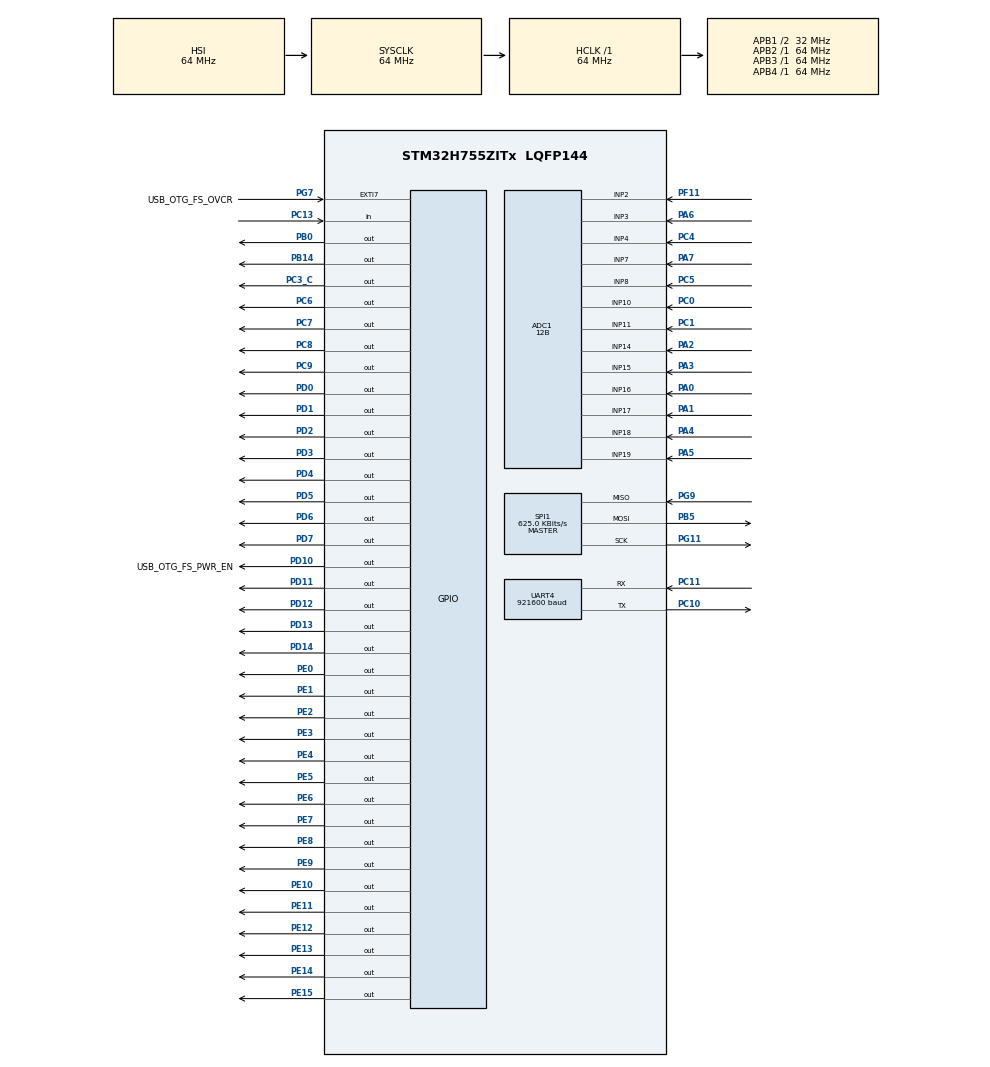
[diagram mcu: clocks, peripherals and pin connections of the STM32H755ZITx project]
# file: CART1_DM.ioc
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ADC1.Channel-0\#ChannelRegularConversion=ADC_CHANNEL_2
ADC1.Channel-1\#ChannelRegularConversion=ADC_CHANNEL_3
ADC1.Channel-10\#ChannelRegularConversion=ADC_CHANNEL_17
ADC1.Channel-11\#ChannelRegularConversion=ADC_CHANNEL_18
ADC1.Channel-12\#ChannelRegularConversion=ADC_CHANNEL_19
ADC1.Channel-2\#ChannelRegularConversion=ADC_CHANNEL_4
ADC1.Channel-3\#ChannelRegularConversion=ADC_CHANNEL_7
ADC1.Channel-4\#ChannelRegularConversion=ADC_CHANNEL_8
ADC1.Channel-5\#ChannelRegularConversion=ADC_CHANNEL_10
ADC1.Channel-6\#ChannelRegularConversion=ADC_CHANNEL_11
ADC1.Channel-7\#ChannelRegularConversion=ADC_CHANNEL_14
ADC1.Channel-8\#ChannelRegularConversion=ADC_CHANNEL_15
ADC1.Channel-9\#ChannelRegularConversion=ADC_CHANNEL_16
ADC1.ClockPrescaler=ADC_CLOCK_ASYNC_DIV64
ADC1.ClockPrescalerADC3=ADC_CLOCK_ASYNC_DIV4
ADC1.ContinuousConvMode=ENABLE
ADC1.ConversionDataManagement=ADC_CONVERSIONDATA_DMA_CIRCULAR
ADC1.EOCSelection=ADC_EOC_SEQ_CONV
ADC1.NbrOfConversion=13
ADC1.NbrOfConversionFlag=1
ADC1.OffsetNumber-1\#ChannelRegularConversion=ADC_OFFSET_NONE
ADC1.OffsetNumber-10\#ChannelRegularConversion=ADC_OFFSET_NONE
ADC1.OffsetNumber-11\#ChannelRegularConversion=ADC_OFFSET_NONE
ADC1.OffsetNumber-12\#ChannelRegularConversion=ADC_OFFSET_NONE
ADC1.OffsetNumber-2\#ChannelRegularConversion=ADC_OFFSET_NONE
ADC1.OffsetNumber-3\#ChannelRegularConversion=ADC_OFFSET_NONE
ADC1.OffsetNumber-4\#ChannelRegularConversion=ADC_OFFSET_NONE
ADC1.OffsetNumber-5\#ChannelRegularConversion=ADC_OFFSET_NONE
ADC1.OffsetNumber-6\#ChannelRegularConversion=ADC_OFFSET_NONE
ADC1.OffsetNumber-7\#ChannelRegularConversion=ADC_OFFSET_NONE
ADC1.OffsetNumber-8\#ChannelRegularConversion=ADC_OFFSET_NONE
ADC1.OffsetNumber-9\#ChannelRegularConversion=ADC_OFFSET_NONE
ADC1.OffsetSignedSaturation-0\#ChannelRegularConversion=DISABLE
ADC1.Rank-1\#ChannelRegularConversion=2
ADC1.Rank-10\#ChannelRegularConversion=11
ADC1.Rank-11\#ChannelRegularConversion=12
ADC1.Rank-12\#ChannelRegularConversion=13
ADC1.Rank-2\#ChannelRegularConversion=3
ADC1.Rank-3\#ChannelRegularConversion=4
ADC1.Rank-4\#ChannelRegularConversion=5
ADC1.Rank-5\#ChannelRegularConversion=6
ADC1.Rank-6\#ChannelRegularConversion=7
ADC1.Rank-7\#ChannelRegularConversion=8
ADC1.Rank-8\#ChannelRegularConversion=9
ADC1.Rank-9\#ChannelRegularConversion=10
ADC1.Resolution=ADC_RESOLUTION_12B
ADC1.SamplingTime-0\#ChannelRegularConversion=ADC_SAMPLETIME_16CYCLES_5
ADC1.SamplingTime-1\#ChannelRegularConversion=ADC_SAMPLETIME_16CYCLES_5
ADC1.SamplingTime-10\#ChannelRegularConversion=ADC_SAMPLETIME_16CYCLES_5
ADC1.SamplingTime-11\#ChannelRegularConversion=ADC_SAMPLETIME_16CYCLES_5
ADC1.SamplingTime-12\#ChannelRegularConversion=ADC_SAMPLETIME_16CYCLES_5
ADC1.SamplingTime-2\#ChannelRegularConversion=ADC_SAMPLETIME_16CYCLES_5
ADC1.SamplingTime-3\#ChannelRegularConversion=ADC_SAMPLETIME_16CYCLES_5
ADC1.SamplingTime-4\#ChannelRegularConversion=ADC_SAMPLETIME_16CYCLES_5
ADC1.SamplingTime-5\#ChannelRegularConversion=ADC_SAMPLETIME_16CYCLES_5
ADC1.SamplingTime-6\#ChannelRegularConversion=ADC_SAMPLETIME_16CYCLES_5
ADC1.SamplingTime-7\#ChannelRegularConversion=ADC_SAMPLETIME_16CYCLES_5
ADC1.SamplingTime-8\#ChannelRegularConversion=ADC_SAMPLETIME_16CYCLES_5
ADC1.SamplingTime-9\#ChannelRegularConversion=ADC_SAMPLETIME_16CYCLES_5
ADC1.master=1
CortexM4.IPs=FATFS_M4\:I,FREERTOS_M4\:I,IWDG2\:I,RCC,WWDG2\:I,DMA,BDMA,MDMA,NVIC2\:I,USART3,DEBUG,PDM2PCM_M4\:I,PWR,RESMGR_UTILITY,SYS_M4\:I,USB_DEVICE_M4\:I,USB_HOST_M4\:I,CORTEX_M4\:I,GPIO,OPENAMP_M4\:I,VREFBUF
CortexM7.IPs=FATFS_M7\:I,FREERTOS_M7\:I,IWDG1\:I,RCC\:I,WWDG1\:I,DMA\:I,BDMA\:I,MDMA\:I,NVIC1\:I,USART3\:I,USB_OTG_FS\:I,SYS\:I,CORTEX_M7\:I,DEBUG\:I,PDM2PCM_M7\:I,PWR\:I,RESMGR_UTILITY\:I,USB_DEVICE_M7\:I,USB_HOST_M7\:I,GPIO\:I,OPENAMP_M7\:I,VREFBUF\:I,NUCLEO-H755ZI-Q\:I,MEMORYMAP\:I,SPI1\:I,TIM2\:I,ADC1\:I,UART4\:I
CortexM7.Pins=PE2,PE3,PE4,PE5,PE6,PC3_C,PE7,PE8,PE9,PE10,PE11,PE12,PE13,PE14,PE15,PD10,PD11,PD12,PD13,PD14,PC6,PC7,PC8,PC9,PD0,PD1,PD2,PD3,PD4,PD5,PD6,PD7,PE0
Dma.ADC1.0.Direction=DMA_PERIPH_TO_MEMORY
Dma.ADC1.0.EventEnable=DISABLE
Dma.ADC1.0.FIFOMode=DMA_FIFOMODE_DISABLE
Dma.ADC1.0.Instance=DMA1_Stream0
Dma.ADC1.0.MemDataAlignment=DMA_MDATAALIGN_HALFWORD
Dma.ADC1.0.MemInc=DMA_MINC_ENABLE
Dma.ADC1.0.Mode=DMA_CIRCULAR
Dma.ADC1.0.PeriphDataAlignment=DMA_PDATAALIGN_HALFWORD
Dma.ADC1.0.PeriphInc=DMA_PINC_DISABLE
Dma.ADC1.0.Polarity=HAL_DMAMUX_REQ_GEN_RISING
Dma.ADC1.0.Priority=DMA_PRIORITY_HIGH
Dma.ADC1.0.RequestNumber=1
Dma.ADC1.0.SignalID=NONE
Dma.ADC1.0.SyncEnable=DISABLE
Dma.ADC1.0.SyncPolarity=HAL_DMAMUX_SYNC_NO_EVENT
Dma.ADC1.0.SyncRequestNumber=1
Dma.ADC1.0.SyncSignalID=NONE
Dma.Request0=ADC1
Mcu.Family=STM32H7
Mcu.Name=STM32H755ZITx
Mcu.Package=LQFP144
NUCLEO-H755ZI-Q.BUTTON=1
NUCLEO-H755ZI-Q.Bsp_Common_DEMO=true
NUCLEO-H755ZI-Q.LD1=true
NUCLEO-H755ZI-Q.LD2=true
NUCLEO-H755ZI-Q.LD3=true
NUCLEO-H755ZI-Q.VCP=true
NVIC1.ADC_IRQn=true\:0\:0\:false\:false\:true\:true\:true\:true
NVIC1.DMA1_Stream0_IRQn=true\:0\:0\:false\:false\:true\:false\:true\:true
NVIC1.EXTI15_10_IRQn=true\:0\:0\:false\:false\:true\:false\:true\:true
NVIC1.PriorityGroup=NVIC_PRIORITYGROUP_4
NVIC1.SPI1_IRQn=true\:0\:0\:false\:false\:true\:true\:true\:true
NVIC1.TIM2_IRQn=true\:0\:0\:false\:false\:true\:true\:true\:true
NVIC1.UART4_IRQn=true\:0\:0\:false\:false\:true\:true\:true\:true
NVIC2.PriorityGroup=NVIC_PRIORITYGROUP_4
PA0.Mode=IN16-Single-Ended
PA0.PinAttribute=CortexM7
PA0.Signal=ADC1_INP16
PA1.Mode=IN17-Single-Ended
PA1.PinAttribute=CortexM7
PA1.Signal=ADC1_INP17
PA11.PinAttribute=CortexM7
PA11.Signal=USB_OTG_FS_DM
PA12.PinAttribute=CortexM7
PA12.Signal=USB_OTG_FS_DP
PA2.PinAttribute=CortexM7
PA2.Signal=ADCx_INP14
PA3.PinAttribute=CortexM7
PA3.Signal=ADCx_INP15
PA4.PinAttribute=CortexM7
PA4.Signal=ADCx_INP18
PA5.PinAttribute=CortexM7
PA5.Signal=ADCx_INP19
PA6.PinAttribute=CortexM7
PA6.Signal=ADCx_INP3
PA7.GPIO_Mode=GPIO_MODE_ANALOG
PA7.GPIO_PuPd=GPIO_NOPULL
PA7.PinAttribute=CortexM7
PA7.Signal=ADCx_INP7
PA8.PinAttribute=CortexM7
PA8.Signal=USB_OTG_FS_SOF
PA9.PinAttribute=CortexM7
PA9.Signal=USB_OTG_FS_VBUS
PB0.Signal=GPIO_Output
PB13.PinAttribute=CortexM4
PB13.Signal=ETH_TXD1
PB14.Signal=GPIO_Output
PB5.Mode=Full_Duplex_Master
PB5.PinAttribute=CortexM7
PB5.Signal=SPI1_MOSI
PC0.PinAttribute=CortexM7
PC0.Signal=ADCx_INP10
PC1.PinAttribute=CortexM7
PC1.Signal=ADCx_INP11
PC10.Mode=Asynchronous
PC10.PinAttribute=CortexM7
PC10.Signal=UART4_TX
PC11.Mode=Asynchronous
PC11.PinAttribute=CortexM7
PC11.Signal=UART4_RX
PC13.Signal=GPIO_Input
PC14-OSC32_IN\ (OSC32_IN).PinAttribute=Free
PC14-OSC32_IN\ (OSC32_IN).Signal=RCC_OSC32_IN
PC15-OSC32_OUT\ (OSC32_OUT).PinAttribute=Free
PC15-OSC32_OUT\ (OSC32_OUT).Signal=RCC_OSC32_OUT
PC2_C.PinAttribute=CortexM7
PC2_C.Signal=ADC3_INP0
PC3_C.GPIO_PuPd=GPIO_PULLDOWN
PC3_C.PinAttribute=CortexM7
PC3_C.Signal=GPIO_Output
PC4.PinAttribute=CortexM7
PC4.Signal=ADCx_INP4
PC5.GPIO_Mode=GPIO_MODE_ANALOG
PC5.GPIO_PuPd=GPIO_NOPULL
PC5.PinAttribute=CortexM7
PC5.Signal=ADCx_INP8
PC6.PinAttribute=CortexM7
PC6.Signal=GPIO_Output
PC7.PinAttribute=CortexM7
PC7.Signal=GPIO_Output
PC8.PinAttribute=CortexM7
PC8.Signal=GPIO_Output
PC9.PinAttribute=CortexM7
PC9.Signal=GPIO_Output
PD0.PinAttribute=CortexM7
PD0.Signal=GPIO_Output
PD1.PinAttribute=CortexM7
PD1.Signal=GPIO_Output
PD10.GPIO_Label=USB_OTG_FS_PWR_EN
PD10.PinAttribute=CortexM7
PD10.Signal=GPIO_Output
PD11.PinAttribute=CortexM7
PD11.Signal=GPIO_Output
PD12.PinAttribute=CortexM7
PD12.Signal=GPIO_Output
PD13.PinAttribute=CortexM7
PD13.Signal=GPIO_Output
PD14.PinAttribute=CortexM7
PD14.Signal=GPIO_Output
PD2.PinAttribute=CortexM7
PD2.Signal=GPIO_Output
PD3.PinAttribute=CortexM7
PD3.Signal=GPIO_Output
PD4.PinAttribute=CortexM7
PD4.Signal=GPIO_Output
PD5.PinAttribute=CortexM7
PD5.Signal=GPIO_Output
PD6.PinAttribute=CortexM7
PD6.Signal=GPIO_Output
PD7.PinAttribute=CortexM7
PD7.Signal=GPIO_Output
PD8.Signal=USART3_TX
PD9.Signal=USART3_RX
PE0.PinAttribute=CortexM7
PE0.Signal=GPIO_Output
PE1.Signal=GPIO_Output
PE10.PinAttribute=CortexM7
PE10.Signal=GPIO_Output
PE11.PinAttribute=CortexM7
PE11.Signal=GPIO_Output
PE12.PinAttribute=CortexM7
PE12.Signal=GPIO_Output
PE13.PinAttribute=CortexM7
PE13.Signal=GPIO_Output
PE14.PinAttribute=CortexM7
PE14.Signal=GPIO_Output
PE15.PinAttribute=CortexM7
PE15.Signal=GPIO_Output
PE2.PinAttribute=CortexM7
PE2.Signal=GPIO_Output
PE3.PinAttribute=CortexM7
PE3.Signal=GPIO_Output
PE4.PinAttribute=CortexM7
PE4.Signal=GPIO_Output
PE5.PinAttribute=CortexM7
PE5.Signal=GPIO_Output
PE6.PinAttribute=CortexM7
PE6.Signal=GPIO_Output
PE7.PinAttribute=CortexM7
PE7.Signal=GPIO_Output
PE8.PinAttribute=CortexM7
PE8.Signal=GPIO_Output
PE9.PinAttribute=CortexM7
PE9.Signal=GPIO_Output
PF11.GPIO_Mode=GPIO_MODE_ANALOG
PF11.GPIO_PuPd=GPIO_NOPULL
PF11.Mode=IN2-Single-Ended
PF11.PinAttribute=CortexM7
PF11.Signal=ADC1_INP2
PF7.PinAttribute=CortexM7
PF7.Signal=ADC3_INP3
PF9.PinAttribute=CortexM7
PF9.Signal=ADC3_INP2
PG11.Mode=Full_Duplex_Master
PG11.PinAttribute=CortexM7
PG11.Signal=SPI1_SCK
PG13.PinAttribute=CortexM4
PG13.Signal=ETH_TXD0
PG7.GPIO_Label=USB_OTG_FS_OVCR
PG7.PinAttribute=Free
PG7.Signal=GPXTI7
PG9.Mode=Full_Duplex_Master
PG9.PinAttribute=CortexM7
PG9.Signal=SPI1_MISO
PH0-OSC_IN\ (PH0).PinAttribute=Free
PH0-OSC_IN\ (PH0).Signal=RCC_OSC_IN
PH1-OSC_OUT\ (PH1).PinAttribute=Free
PH1-OSC_OUT\ (PH1).Signal=RCC_OSC_OUT
ProjectManager.HeapSize=M4-0x200,M7-0x200
ProjectManager.StackSize=M4-0x400,M7-0x400
ProjectManager.TargetToolchain=STM32CubeIDE
RCC.ADCFreq_Value=80000000
RCC.APB1Freq_Value=32000000
RCC.APB2Freq_Value=64000000
RCC.APB3Freq_Value=64000000
RCC.APB4Freq_Value=64000000
RCC.CortexFreq_Value=64000000
RCC.D2PPRE1=RCC_APB1_DIV2
RCC.DIVM1=4
RCC.DIVM2=4
RCC.DIVN1=10
RCC.DIVN2=10
RCC.HCLKFreq_Value=64000000
RCC.PLL2FRACN=0
RCC.PLL3FRACN=0
RCC.PLLFRACN=0
RCC.SYSCLKFreq_VALUE=64000000
RCC.SupplySource=PWR_DIRECT_SMPS_SUPPLY
RCC.USBFreq_Value=80000000
SH.ADCx_INP10.0=ADC1_INP10,IN10-Single-Ended
SH.ADCx_INP11.0=ADC1_INP11,IN11-Single-Ended
SH.ADCx_INP14.0=ADC1_INP14,IN14-Single-Ended
SH.ADCx_INP15.0=ADC1_INP15,IN15-Single-Ended
SH.ADCx_INP18.0=ADC1_INP18,IN18-Single-Ended
SH.ADCx_INP19.0=ADC1_INP19,IN19-Single-Ended
SH.ADCx_INP3.0=ADC1_INP3,IN3-Single-Ended
SH.ADCx_INP4.0=ADC1_INP4,IN4-Single-Ended
SH.ADCx_INP7.0=ADC1_INP7,IN7-Single-Ended
SH.ADCx_INP8.0=ADC1_INP8,IN8-Single-Ended
SPI1.BaudRatePrescaler=SPI_BAUDRATEPRESCALER_128
SPI1.CLKPhase=SPI_PHASE_1EDGE
SPI1.CLKPolarity=SPI_POLARITY_LOW
SPI1.CalculateBaudRate=625.0 KBits/s
SPI1.DataSize=SPI_DATASIZE_8BIT
SPI1.Direction=SPI_DIRECTION_2LINES
SPI1.Mode=SPI_MODE_MASTER
SPI1.VirtualType=VM_MASTER
TIM2.Period=999
TIM2.Prescaler=63
UART4.BaudRate=921600
UART4.FIFOMode=FIFOMODE_ENABLE
VP_MEMORYMAP_VS_MEMORYMAP.Mode=CurAppReg
VP_NUCLEO-H755ZI-Q_VS_BSP_COMMON.Mode=COMMON
VP_SYS_M4_VS_Systick.Mode=SysTick
VP_TIM2_VS_ClockSourceINT.Mode=Internal
VP_VREFBUF_V_VREFBUF.Mode=ExternalMode
board=NUCLEO-H755ZI-Q

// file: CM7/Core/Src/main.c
/* USER CODE BEGIN Header */
/**
  ******************************************************************************
  * @file           : main.c
  * @brief          : Main program body
  ******************************************************************************
  * @attention
  *
  * Copyright (c) 2025 STMicroelectronics.
  * All rights reserved.
  *
  * This software is licensed under terms that can be found in the LICENSE file
  * in the root directory of this software component.
  * If no LICENSE file comes with this software, it is provided AS-IS.
  *
  ******************************************************************************
  */
/* USER CODE END Header */
#include "main.h"

/* USER CODE BEGIN Includes */
#include <stdbool.h>
#include <string.h>
#include <stdlib.h>

#include "solenoidvalve.h"
#include "thermocouple.h"
#include "pressure.h"
#include "tmtc.h"

/* USER CODE END Includes */

/* USER CODE BEGIN PD */

#ifndef HSEM_ID_0
#define HSEM_ID_0 (0U) /* HW semaphore 0*/
#endif

/* USER CODE END PD */

COM_InitTypeDef BspCOMInit;
__IO uint32_t BspButtonState = BUTTON_RELEASED;
ADC_HandleTypeDef hadc1;
DMA_HandleTypeDef hdma_adc1;

SPI_HandleTypeDef hspi1;

TIM_HandleTypeDef htim2;

UART_HandleTypeDef huart4;

void SystemClock_Config(void);
static void MX_GPIO_Init(void);
static void MX_DMA_Init(void);
static void MX_SPI1_Init(void);
static void MX_TIM2_Init(void);
static void MX_ADC1_Init(void);
static void MX_UART4_Init(void);

/* USER CODE BEGIN 0 */

uint32_t systemtick = 0; // ms

uint8_t f1ms = false;
uint8_t f10ms = false;
uint8_t f100ms = false;
uint8_t f1000ms = false;

uint32_t cnt1ms = 0;

double TC[MAX_TC_CH] = {0};
uint8_t sv[MAX_SV_NUM] = {0};

void HAL_TIM_PeriodElapsedCallback(TIM_HandleTypeDef *htim)
{
	if (htim->Instance == TIM2)
	{
		// 1ms마다 실행되는 코드
		f1ms = true;
		cnt1ms++;
		systemtick++;

		if (cnt1ms%10 == 0)
		{
			IgnitorSwitching();
			f10ms = true;
		}

		if (cnt1ms%100 == 0)
		{
			f100ms = true;
		}

		if (cnt1ms%1000 == 0)
		{
			f1000ms = true;
		}

	}
}

uint16_t ADC_results[N_ADC_CH];

//#define RX_BUFFER_SIZE 64
//uint8_t rx_data;
//uint8_t rx_buffer[RX_BUFFER_SIZE];
//uint8_t rx_index = 0;
//
//void HAL_UART_RxCpltCallback(UART_HandleTypeDef *huart)
//{
//    if (huart->Instance == UART4)
//    {
//        rx_buffer[rx_index++] = rx_data;
//
//        // 순환 버퍼 또는 수신 종료 문자 조건으로 처리 가능
//        if (rx_index >= RX_BUFFER_SIZE)
//        {
//            rx_index = 0; // 오버플로 방지
//        }
//
//        // 다음 수신 재시작
//        HAL_UART_Receive_IT(&huart4, &rx_data, 1);
//    }
//}

/* USER CODE END 0 */

int main(void)
{

/* USER CODE BEGIN Boot_Mode_Sequence_0 */
  int32_t timeout;
/* USER CODE END Boot_Mode_Sequence_0 */

/* USER CODE BEGIN Boot_Mode_Sequence_1 */
  /* Wait until CPU2 boots and enters in stop mode or timeout*/
  timeout = 0xFFFF;
  while((__HAL_RCC_GET_FLAG(RCC_FLAG_D2CKRDY) != RESET) && (timeout-- > 0));
  if ( timeout < 0 )
  {
  //Error_Handler();
  }
/* USER CODE END Boot_Mode_Sequence_1 */
  /* MCU Configuration--------------------------------------------------------*/

  /* Reset of all peripherals, Initializes the Flash interface and the Systick. */
  HAL_Init();

  /* Configure the system clock */
  SystemClock_Config();
/* USER CODE BEGIN Boot_Mode_Sequence_2 */
/* When system initialization is finished, Cortex-M7 will release Cortex-M4 by means of
HSEM notification */
/*HW semaphore Clock enable*/
__HAL_RCC_HSEM_CLK_ENABLE();
/*Take HSEM */
HAL_HSEM_FastTake(HSEM_ID_0);
/*Release HSEM in order to notify the CPU2(CM4)*/
HAL_HSEM_Release(HSEM_ID_0,0);
/* wait until CPU2 wakes up from stop mode */
timeout = 0xFFFF;
while((__HAL_RCC_GET_FLAG(RCC_FLAG_D2CKRDY) == RESET) && (timeout-- > 0));
if ( timeout < 0 )
{
Error_Handler();
}
/* USER CODE END Boot_Mode_Sequence_2 */

  /* Initialize all configured peripherals */
  MX_GPIO_Init();
  MX_DMA_Init();
  MX_SPI1_Init();
  MX_TIM2_Init();
  MX_ADC1_Init();
  MX_UART4_Init();
  /* USER CODE BEGIN 2 */

  HAL_TIM_Base_Start_IT(&htim2);

  InitPT();
  InitTMTC();

  /* USER CODE END 2 */

  /* Initialize leds */
  BSP_LED_Init(LED_GREEN);
  BSP_LED_Init(LED_YELLOW);
  BSP_LED_Init(LED_RED);

  /* Initialize USER push-button, will be used to trigger an interrupt each time it's pressed.*/
  BSP_PB_Init(BUTTON_USER, BUTTON_MODE_EXTI);

  /* Initialize COM1 port (115200, 8 bits (7-bit data + 1 stop bit), no parity */
  BspCOMInit.BaudRate   = 115200;
  BspCOMInit.WordLength = COM_WORDLENGTH_8B;
  BspCOMInit.StopBits   = COM_STOPBITS_1;
  BspCOMInit.Parity     = COM_PARITY_NONE;
  BspCOMInit.HwFlowCtl  = COM_HWCONTROL_NONE;
  if (BSP_COM_Init(COM1, &BspCOMInit) != BSP_ERROR_NONE)
  {
    Error_Handler();
  }

  /* USER CODE BEGIN BSP */
  /* -- Sample board code to send message over COM1 port ---- */
  printf("Welcome to STM32 world !\n\r");
  /* -- Sample board code to switch on leds ---- */
  BSP_LED_On(LED_GREEN);
  BSP_LED_On(LED_YELLOW);
  BSP_LED_Off(LED_RED);
  /* USER CODE END BSP */

  /* Infinite loop */
  /* USER CODE BEGIN WHILE */
  while (1)
  {
	  if (fTC == true)
	  {
		  fTC = false;

		  SVCmdDecoding(sv);

	  } // if (fTC == true)

	  if (fTemp == true)
	  {
		  fTemp = false;
		  GetTemp(TC);
	  }

	  if (f10ms == true)
	  {
		  f10ms = false;

		  uint8_t tx_buf[512]={0};
		  uint8_t temp_buf[32]={0};

		  SVUpdate(sv);
		  MAX3188_StartRead();
		  GetADCRaw(ADC_results);

		  sprintf((char*)tx_buf,"IGRVT,%lu",systemtick);
		  for (uint8_t i = 0; i < MAX_SV_NUM; i++)
		  {
			  sprintf((char*)temp_buf,",%u",sv[i]);
			  strcat((char*)tx_buf,(char*)temp_buf);
		  }
//		  sprintf((char*)temp_buf,"\r\n");
//		  strcat((char*)tx_buf,(char*)temp_buf);

		  //sprintf((char*)temp_buf,";");
		  //strcat((char*)tx_buf,(char*)temp_buf);
		  //sprintf((char*)temp_buf,"%d",(int)(TC[0]*10.0));
		  //strcat((char*)tx_buf,(char*)temp_buf);
		  for (uint8_t i = 0; i < MAX_TC_CH; i++)
		  {
			  sprintf((char*)temp_buf,",%d",(int)(TC[i]*10.0));
			  strcat((char*)tx_buf,(char*)temp_buf);
		  }
//		  sprintf((char*)temp_buf,"\r\n");
//		  strcat((char*)tx_buf,(char*)temp_buf);
//
//		  SendTM(tx_buf);
//
//		  sprintf((char*)temp_buf,";");
//		  strcat((char*)tx_buf,(char*)temp_buf);
//		  sprintf((char*)temp_buf,"%u",ADC_results[0]);
//		  strcat((char*)tx_buf,(char*)temp_buf);
		  for (uint8_t i = 0; i < N_ADC_CH; i++)
		  {
			  sprintf((char*)temp_buf,",%u",ADC_results[i]);
			  strcat((char*)tx_buf,(char*)temp_buf);
		  }
		  sprintf((char*)temp_buf,",EOD");
		  strcat((char*)tx_buf,(char*)temp_buf);
		  sprintf((char*)temp_buf,"\r\n");
		  strcat((char*)tx_buf,(char*)temp_buf);

		  SendTM(tx_buf);

		  BSP_LED_Toggle(LED_YELLOW);
	  } //if (f10ms == true)

	  if (f1000ms == true)
	  {
		  f1000ms = false;//
		  BSP_LED_Toggle(LED_RED);

//		  char *msg = "UART4 ready\r\n";
//		  SendTM((uint8_t*)msg);
	  } // if (f1000ms == true)

    /* USER CODE END WHILE */

  }
}

void SystemClock_Config(void)
{
  RCC_OscInitTypeDef RCC_OscInitStruct = {0};
  RCC_ClkInitTypeDef RCC_ClkInitStruct = {0};

  /** Supply configuration update enable
  */
  HAL_PWREx_ConfigSupply(PWR_DIRECT_SMPS_SUPPLY);

  /** Configure the main internal regulator output voltage
  */
  __HAL_PWR_VOLTAGESCALING_CONFIG(PWR_REGULATOR_VOLTAGE_SCALE3);

  while(!__HAL_PWR_GET_FLAG(PWR_FLAG_VOSRDY)) {}

  /** Initializes the RCC Oscillators according to the specified parameters
  * in the RCC_OscInitTypeDef structure.
  */
  RCC_OscInitStruct.OscillatorType = RCC_OSCILLATORTYPE_HSI;
  RCC_OscInitStruct.HSIState = RCC_HSI_DIV1;
  RCC_OscInitStruct.HSICalibrationValue = RCC_HSICALIBRATION_DEFAULT;
  RCC_OscInitStruct.PLL.PLLState = RCC_PLL_ON;
  RCC_OscInitStruct.PLL.PLLSource = RCC_PLLSOURCE_HSI;
  RCC_OscInitStruct.PLL.PLLM = 4;
  RCC_OscInitStruct.PLL.PLLN = 10;
  RCC_OscInitStruct.PLL.PLLP = 2;
  RCC_OscInitStruct.PLL.PLLQ = 2;
  RCC_OscInitStruct.PLL.PLLR = 2;
  RCC_OscInitStruct.PLL.PLLRGE = RCC_PLL1VCIRANGE_3;
  RCC_OscInitStruct.PLL.PLLVCOSEL = RCC_PLL1VCOMEDIUM;
  RCC_OscInitStruct.PLL.PLLFRACN = 0;
  if (HAL_RCC_OscConfig(&RCC_OscInitStruct) != HAL_OK)
  {
    Error_Handler();
  }

  /** Initializes the CPU, AHB and APB buses clocks
  */
  RCC_ClkInitStruct.ClockType = RCC_CLOCKTYPE_HCLK|RCC_CLOCKTYPE_SYSCLK
                              |RCC_CLOCKTYPE_PCLK1|RCC_CLOCKTYPE_PCLK2
                              |RCC_CLOCKTYPE_D3PCLK1|RCC_CLOCKTYPE_D1PCLK1;
  RCC_ClkInitStruct.SYSCLKSource = RCC_SYSCLKSOURCE_HSI;
  RCC_ClkInitStruct.SYSCLKDivider = RCC_SYSCLK_DIV1;
  RCC_ClkInitStruct.AHBCLKDivider = RCC_HCLK_DIV1;
  RCC_ClkInitStruct.APB3CLKDivider = RCC_APB3_DIV1;
  RCC_ClkInitStruct.APB1CLKDivider = RCC_APB1_DIV2;
  RCC_ClkInitStruct.APB2CLKDivider = RCC_APB2_DIV1;
  RCC_ClkInitStruct.APB4CLKDivider = RCC_APB4_DIV1;

  if (HAL_RCC_ClockConfig(&RCC_ClkInitStruct, FLASH_LATENCY_1) != HAL_OK)
  {
    Error_Handler();
  }
}

static void MX_ADC1_Init(void)
{

  ADC_MultiModeTypeDef multimode = {0};
  ADC_ChannelConfTypeDef sConfig = {0};

  /** Common config
  */
  hadc1.Instance = ADC1;
  hadc1.Init.ClockPrescaler = ADC_CLOCK_ASYNC_DIV64;
  hadc1.Init.Resolution = ADC_RESOLUTION_12B;
  hadc1.Init.ScanConvMode = ADC_SCAN_ENABLE;
  hadc1.Init.EOCSelection = ADC_EOC_SEQ_CONV;
  hadc1.Init.LowPowerAutoWait = DISABLE;
  hadc1.Init.ContinuousConvMode = ENABLE;
  hadc1.Init.NbrOfConversion = 13;
  hadc1.Init.DiscontinuousConvMode = DISABLE;
  hadc1.Init.ExternalTrigConv = ADC_SOFTWARE_START;
  hadc1.Init.ExternalTrigConvEdge = ADC_EXTERNALTRIGCONVEDGE_NONE;
  hadc1.Init.ConversionDataManagement = ADC_CONVERSIONDATA_DMA_CIRCULAR;
  hadc1.Init.Overrun = ADC_OVR_DATA_PRESERVED;
  hadc1.Init.LeftBitShift = ADC_LEFTBITSHIFT_NONE;
  hadc1.Init.OversamplingMode = DISABLE;
  hadc1.Init.Oversampling.Ratio = 1;
  if (HAL_ADC_Init(&hadc1) != HAL_OK)
  {
    Error_Handler();
  }

  /** Configure the ADC multi-mode
  */
  multimode.Mode = ADC_MODE_INDEPENDENT;
  if (HAL_ADCEx_MultiModeConfigChannel(&hadc1, &multimode) != HAL_OK)
  {
    Error_Handler();
  }

  /** Configure Regular Channel
  */
  sConfig.Channel = ADC_CHANNEL_2;
  sConfig.Rank = ADC_REGULAR_RANK_1;
  sConfig.SamplingTime = ADC_SAMPLETIME_16CYCLES_5;
  sConfig.SingleDiff = ADC_SINGLE_ENDED;
  sConfig.OffsetNumber = ADC_OFFSET_NONE;
  sConfig.Offset = 0;
  sConfig.OffsetSignedSaturation = DISABLE;
  if (HAL_ADC_ConfigChannel(&hadc1, &sConfig) != HAL_OK)
  {
    Error_Handler();
  }

  /** Configure Regular Channel
  */
  sConfig.Channel = ADC_CHANNEL_3;
  sConfig.Rank = ADC_REGULAR_RANK_2;
  if (HAL_ADC_ConfigChannel(&hadc1, &sConfig) != HAL_OK)
  {
    Error_Handler();
  }

  /** Configure Regular Channel
  */
  sConfig.Channel = ADC_CHANNEL_4;
  sConfig.Rank = ADC_REGULAR_RANK_3;
  if (HAL_ADC_ConfigChannel(&hadc1, &sConfig) != HAL_OK)
  {
    Error_Handler();
  }

  /** Configure Regular Channel
  */
  sConfig.Channel = ADC_CHANNEL_7;
  sConfig.Rank = ADC_REGULAR_RANK_4;
  if (HAL_ADC_ConfigChannel(&hadc1, &sConfig) != HAL_OK)
  {
    Error_Handler();
  }

  /** Configure Regular Channel
  */
  sConfig.Channel = ADC_CHANNEL_8;
  sConfig.Rank = ADC_REGULAR_RANK_5;
  if (HAL_ADC_ConfigChannel(&hadc1, &sConfig) != HAL_OK)
  {
    Error_Handler();
  }

  /** Configure Regular Channel
  */
  sConfig.Channel = ADC_CHANNEL_10;
  sConfig.Rank = ADC_REGULAR_RANK_6;
  if (HAL_ADC_ConfigChannel(&hadc1, &sConfig) != HAL_OK)
  {
    Error_Handler();
  }

  /** Configure Regular Channel
  */
  sConfig.Channel = ADC_CHANNEL_11;
  sConfig.Rank = ADC_REGULAR_RANK_7;
  if (HAL_ADC_ConfigChannel(&hadc1, &sConfig) != HAL_OK)
  {
    Error_Handler();
  }

  /** Configure Regular Channel
  */
  sConfig.Channel = ADC_CHANNEL_14;
  sConfig.Rank = ADC_REGULAR_RANK_8;
  if (HAL_ADC_ConfigChannel(&hadc1, &sConfig) != HAL_OK)
  {
    Error_Handler();
  }

  /** Configure Regular Channel
  */
  sConfig.Channel = ADC_CHANNEL_15;
  sConfig.Rank = ADC_REGULAR_RANK_9;
  if (HAL_ADC_ConfigChannel(&hadc1, &sConfig) != HAL_OK)
  {
    Error_Handler();
  }

  /** Configure Regular Channel
  */
  sConfig.Channel = ADC_CHANNEL_16;
  sConfig.Rank = ADC_REGULAR_RANK_10;
  if (HAL_ADC_ConfigChannel(&hadc1, &sConfig) != HAL_OK)
  {
    Error_Handler();
  }

  /** Configure Regular Channel
  */
  sConfig.Channel = ADC_CHANNEL_17;
  sConfig.Rank = ADC_REGULAR_RANK_11;
  if (HAL_ADC_ConfigChannel(&hadc1, &sConfig) != HAL_OK)
  {
    Error_Handler();
  }

  /** Configure Regular Channel
  */
  sConfig.Channel = ADC_CHANNEL_18;
  sConfig.Rank = ADC_REGULAR_RANK_12;
  if (HAL_ADC_ConfigChannel(&hadc1, &sConfig) != HAL_OK)
  {
    Error_Handler();
  }

  /** Configure Regular Channel
  */
  sConfig.Channel = ADC_CHANNEL_19;
  sConfig.Rank = ADC_REGULAR_RANK_13;
  if (HAL_ADC_ConfigChannel(&hadc1, &sConfig) != HAL_OK)
  {
    Error_Handler();
  }

}

static void MX_SPI1_Init(void)
{

  /* SPI1 parameter configuration*/
  hspi1.Instance = SPI1;
  hspi1.Init.Mode = SPI_MODE_MASTER;
  hspi1.Init.Direction = SPI_DIRECTION_2LINES;
  hspi1.Init.DataSize = SPI_DATASIZE_8BIT;
  hspi1.Init.CLKPolarity = SPI_POLARITY_LOW;
  hspi1.Init.CLKPhase = SPI_PHASE_1EDGE;
  hspi1.Init.NSS = SPI_NSS_SOFT;
  hspi1.Init.BaudRatePrescaler = SPI_BAUDRATEPRESCALER_128;
  hspi1.Init.FirstBit = SPI_FIRSTBIT_MSB;
  hspi1.Init.TIMode = SPI_TIMODE_DISABLE;
  hspi1.Init.CRCCalculation = SPI_CRCCALCULATION_DISABLE;
  hspi1.Init.CRCPolynomial = 0x0;
  hspi1.Init.NSSPMode = SPI_NSS_PULSE_ENABLE;
  hspi1.Init.NSSPolarity = SPI_NSS_POLARITY_LOW;
  hspi1.Init.FifoThreshold = SPI_FIFO_THRESHOLD_01DATA;
  hspi1.Init.TxCRCInitializationPattern = SPI_CRC_INITIALIZATION_ALL_ZERO_PATTERN;
  hspi1.Init.RxCRCInitializationPattern = SPI_CRC_INITIALIZATION_ALL_ZERO_PATTERN;
  hspi1.Init.MasterSSIdleness = SPI_MASTER_SS_IDLENESS_00CYCLE;
  hspi1.Init.MasterInterDataIdleness = SPI_MASTER_INTERDATA_IDLENESS_00CYCLE;
  hspi1.Init.MasterReceiverAutoSusp = SPI_MASTER_RX_AUTOSUSP_DISABLE;
  hspi1.Init.MasterKeepIOState = SPI_MASTER_KEEP_IO_STATE_DISABLE;
  hspi1.Init.IOSwap = SPI_IO_SWAP_DISABLE;
  if (HAL_SPI_Init(&hspi1) != HAL_OK)
  {
    Error_Handler();
  }

}

static void MX_TIM2_Init(void)
{

  TIM_ClockConfigTypeDef sClockSourceConfig = {0};
  TIM_MasterConfigTypeDef sMasterConfig = {0};

  htim2.Instance = TIM2;
  htim2.Init.Prescaler = 63;
  htim2.Init.CounterMode = TIM_COUNTERMODE_UP;
  htim2.Init.Period = 999;
  htim2.Init.ClockDivision = TIM_CLOCKDIVISION_DIV1;
  htim2.Init.AutoReloadPreload = TIM_AUTORELOAD_PRELOAD_DISABLE;
  if (HAL_TIM_Base_Init(&htim2) != HAL_OK)
  {
    Error_Handler();
  }
  sClockSourceConfig.ClockSource = TIM_CLOCKSOURCE_INTERNAL;
  if (HAL_TIM_ConfigClockSource(&htim2, &sClockSourceConfig) != HAL_OK)
  {
    Error_Handler();
  }
  sMasterConfig.MasterOutputTrigger = TIM_TRGO_RESET;
  sMasterConfig.MasterSlaveMode = TIM_MASTERSLAVEMODE_DISABLE;
  if (HAL_TIMEx_MasterConfigSynchronization(&htim2, &sMasterConfig) != HAL_OK)
  {
    Error_Handler();
  }

}

static void MX_UART4_Init(void)
{

  huart4.Instance = UART4;
  huart4.Init.BaudRate = 921600;
  huart4.Init.WordLength = UART_WORDLENGTH_8B;
  huart4.Init.StopBits = UART_STOPBITS_1;
  huart4.Init.Parity = UART_PARITY_NONE;
  huart4.Init.Mode = UART_MODE_TX_RX;
  huart4.Init.HwFlowCtl = UART_HWCONTROL_NONE;
  huart4.Init.OverSampling = UART_OVERSAMPLING_16;
  huart4.Init.OneBitSampling = UART_ONE_BIT_SAMPLE_DISABLE;
  huart4.Init.ClockPrescaler = UART_PRESCALER_DIV1;
  huart4.AdvancedInit.AdvFeatureInit = UART_ADVFEATURE_NO_INIT;
  if (HAL_UART_Init(&huart4) != HAL_OK)
  {
    Error_Handler();
  }
  if (HAL_UARTEx_SetTxFifoThreshold(&huart4, UART_TXFIFO_THRESHOLD_1_8) != HAL_OK)
  {
    Error_Handler();
  }
  if (HAL_UARTEx_SetRxFifoThreshold(&huart4, UART_RXFIFO_THRESHOLD_1_8) != HAL_OK)
  {
    Error_Handler();
  }
  if (HAL_UARTEx_EnableFifoMode(&huart4) != HAL_OK)
  {
    Error_Handler();
  }

}

static void MX_DMA_Init(void)
{

  /* DMA controller clock enable */
  __HAL_RCC_DMA1_CLK_ENABLE();

  /* DMA interrupt init */
  /* DMA1_Stream0_IRQn interrupt configuration */
  HAL_NVIC_SetPriority(DMA1_Stream0_IRQn, 0, 0);
  HAL_NVIC_EnableIRQ(DMA1_Stream0_IRQn);

}

static void MX_GPIO_Init(void)
{
  GPIO_InitTypeDef GPIO_InitStruct = {0};

  /* GPIO Ports Clock Enable */
  __HAL_RCC_GPIOE_CLK_ENABLE();
  __HAL_RCC_GPIOF_CLK_ENABLE();
  __HAL_RCC_GPIOC_CLK_ENABLE();
  __HAL_RCC_GPIOA_CLK_ENABLE();
  __HAL_RCC_GPIOD_CLK_ENABLE();
  __HAL_RCC_GPIOG_CLK_ENABLE();
  __HAL_RCC_GPIOB_CLK_ENABLE();

  /*Configure GPIO pin Output Level */
  HAL_GPIO_WritePin(GPIOE, GPIO_PIN_2|GPIO_PIN_3|GPIO_PIN_4|GPIO_PIN_5
                          |GPIO_PIN_6|GPIO_PIN_7|GPIO_PIN_8|GPIO_PIN_9
                          |GPIO_PIN_10|GPIO_PIN_11|GPIO_PIN_12|GPIO_PIN_13
                          |GPIO_PIN_14|GPIO_PIN_15|GPIO_PIN_0, GPIO_PIN_RESET);

  /*Configure GPIO pin Output Level */
  HAL_GPIO_WritePin(GPIOC, GPIO_PIN_3|GPIO_PIN_6|GPIO_PIN_7|GPIO_PIN_8
                          |GPIO_PIN_9, GPIO_PIN_RESET);

  /*Configure GPIO pin Output Level */
  HAL_GPIO_WritePin(GPIOD, USB_OTG_FS_PWR_EN_Pin|GPIO_PIN_11|GPIO_PIN_12|GPIO_PIN_13
                          |GPIO_PIN_14|GPIO_PIN_0|GPIO_PIN_1|GPIO_PIN_2
                          |GPIO_PIN_3|GPIO_PIN_4|GPIO_PIN_5|GPIO_PIN_6
                          |GPIO_PIN_7, GPIO_PIN_RESET);

  /*Configure GPIO pins : PE2 PE3 PE4 PE5
                           PE6 PE7 PE8 PE9
                           PE10 PE11 PE12 PE13
                           PE14 PE15 PE0 */
  GPIO_InitStruct.Pin = GPIO_PIN_2|GPIO_PIN_3|GPIO_PIN_4|GPIO_PIN_5
                          |GPIO_PIN_6|GPIO_PIN_7|GPIO_PIN_8|GPIO_PIN_9
                          |GPIO_PIN_10|GPIO_PIN_11|GPIO_PIN_12|GPIO_PIN_13
                          |GPIO_PIN_14|GPIO_PIN_15|GPIO_PIN_0;
  GPIO_InitStruct.Mode = GPIO_MODE_OUTPUT_PP;
  GPIO_InitStruct.Pull = GPIO_NOPULL;
  GPIO_InitStruct.Speed = GPIO_SPEED_FREQ_LOW;
  HAL_GPIO_Init(GPIOE, &GPIO_InitStruct);

  /*Configure GPIO pins : PF7 PF9 */
  GPIO_InitStruct.Pin = GPIO_PIN_7|GPIO_PIN_9;
  GPIO_InitStruct.Mode = GPIO_MODE_ANALOG;
  GPIO_InitStruct.Pull = GPIO_NOPULL;
  HAL_GPIO_Init(GPIOF, &GPIO_InitStruct);

  /*Configure GPIO pin : PC3 */
  GPIO_InitStruct.Pin = GPIO_PIN_3;
  GPIO_InitStruct.Mode = GPIO_MODE_OUTPUT_PP;
  GPIO_InitStruct.Pull = GPIO_PULLDOWN;
  GPIO_InitStruct.Speed = GPIO_SPEED_FREQ_LOW;
  HAL_GPIO_Init(GPIOC, &GPIO_InitStruct);

  /*Configure GPIO pins : USB_OTG_FS_PWR_EN_Pin PD11 PD12 PD13
                           PD14 PD0 PD1 PD2
                           PD3 PD4 PD5 PD6
                           PD7 */
  GPIO_InitStruct.Pin = USB_OTG_FS_PWR_EN_Pin|GPIO_PIN_11|GPIO_PIN_12|GPIO_PIN_13
                          |GPIO_PIN_14|GPIO_PIN_0|GPIO_PIN_1|GPIO_PIN_2
                          |GPIO_PIN_3|GPIO_PIN_4|GPIO_PIN_5|GPIO_PIN_6
                          |GPIO_PIN_7;
  GPIO_InitStruct.Mode = GPIO_MODE_OUTPUT_PP;
  GPIO_InitStruct.Pull = GPIO_NOPULL;
  GPIO_InitStruct.Speed = GPIO_SPEED_FREQ_LOW;
  HAL_GPIO_Init(GPIOD, &GPIO_InitStruct);

  /*Configure GPIO pins : PC6 PC7 PC8 PC9 */
  GPIO_InitStruct.Pin = GPIO_PIN_6|GPIO_PIN_7|GPIO_PIN_8|GPIO_PIN_9;
  GPIO_InitStruct.Mode = GPIO_MODE_OUTPUT_PP;
  GPIO_InitStruct.Pull = GPIO_NOPULL;
  GPIO_InitStruct.Speed = GPIO_SPEED_FREQ_LOW;
  HAL_GPIO_Init(GPIOC, &GPIO_InitStruct);

  /*Configure GPIO pins : PA8 PA11 PA12 */
  GPIO_InitStruct.Pin = GPIO_PIN_8|GPIO_PIN_11|GPIO_PIN_12;
  GPIO_InitStruct.Mode = GPIO_MODE_AF_PP;
  GPIO_InitStruct.Pull = GPIO_NOPULL;
  GPIO_InitStruct.Speed = GPIO_SPEED_FREQ_LOW;
  GPIO_InitStruct.Alternate = GPIO_AF10_OTG1_FS;
  HAL_GPIO_Init(GPIOA, &GPIO_InitStruct);

  /*AnalogSwitch Config */
  HAL_SYSCFG_AnalogSwitchConfig(SYSCFG_SWITCH_PC2, SYSCFG_SWITCH_PC2_OPEN);

  /*AnalogSwitch Config */
  HAL_SYSCFG_AnalogSwitchConfig(SYSCFG_SWITCH_PC3, SYSCFG_SWITCH_PC3_CLOSE);

}

/**
  * @brief  BSP Push Button callback
  * @param  Button Specifies the pressed button
  * @retval None
  */
void BSP_PB_Callback(Button_TypeDef Button)
{
  if (Button == BUTTON_USER)
  {
    BspButtonState = BUTTON_PRESSED;
  }
}

void Error_Handler(void)
{
  __disable_irq();
  while (1)
  {
  }
}
